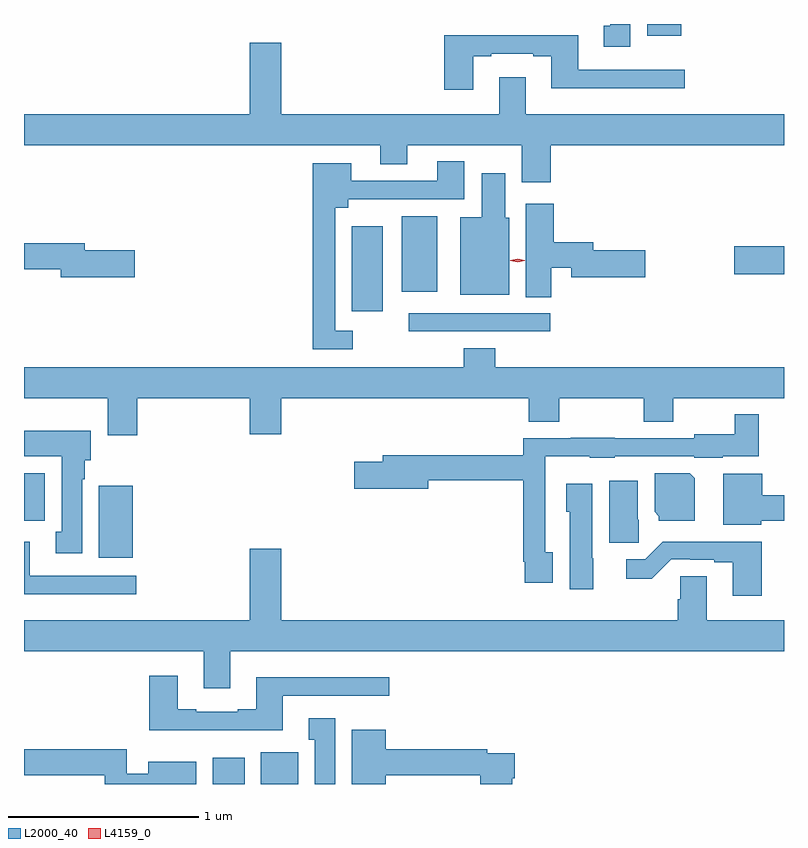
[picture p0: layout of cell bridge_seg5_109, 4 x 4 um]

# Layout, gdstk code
import gdstk
lib = gdstk.Library(unit=1e-6, precision=1e-09)
def R(c, l, rs):  # rectangles x0, y0, x1, y1
    for r in rs: c.add(gdstk.rectangle(r[:2], r[2:], *l))
def P(c, l, *ps):  # polygons
    for p in ps: c.add(gdstk.Polygon(p, *l))
L2000_40 = (2000, 40)
L4159_0 = (4159, 0)

bridge_seg5_109 = lib.new_cell('bridge_seg5_109')
R(bridge_seg5_109, L2000_40, [(404.573,836.082,404.74,836.221), (404.825,836.082,405.022,836.248), (403.973,837.273,404.152,837.652), (403.579,837.468,403.689,837.718), (405.603,838.464,406.348,838.56), (405.305,838.569,405.466,839.017), (405.566,838.673,405.754,839.071), (407.316,838.766,407.579,838.913), (406.859,840.02,407.038,840.082)])
P(bridge_seg5_109, L2000_40, [(406.771,840.082),(406.664,840.082),(406.664,840.074),(406.631,840.074),(406.631,839.961),(406.771,839.961)],
  [(405.943,839.913),(406.039,839.913),(406.039,839.925),(406.259,839.925),(406.259,839.913),(406.355,839.913),(406.355,839.744),(407.056,839.744),(407.056,839.841),(406.495,839.841),(406.495,840.022),(405.791,840.022),(405.791,839.736),(405.943,839.736)],
  [(406.352,839.444),(407.579,839.444),(407.579,839.608),(406.219,839.608),(406.219,839.803),(406.079,839.803),(406.079,839.608),(404.932,839.608),(404.932,839.983),(404.768,839.983),(404.768,839.608),(403.579,839.608),(403.579,839.444),(405.455,839.444),(405.455,839.345),(405.595,839.345),(405.595,839.444),(406.199,839.444),(406.199,839.25),(406.352,839.25)],
  [(405.31,838.467),(405.216,838.467),(405.216,839.114),(405.286,839.114),(405.286,839.16),(405.895,839.16),(405.895,839.359),(405.755,839.359),(405.755,839.256),(405.301,839.256),(405.301,839.35),(405.1,839.35),(405.1,838.371),(405.31,838.371)],
  [(406.132,839.061),(406.111,839.061),(406.111,839.296),(405.989,839.296),(405.989,839.065),(405.875,839.065),(405.875,838.658),(406.132,838.658)],
  [(406.354,838.799),(406.46,838.799),(406.46,838.75),(406.849,838.75),(406.849,838.892),(406.576,838.892),(406.576,838.934),(406.367,838.934),(406.367,839.137),(406.22,839.137),(406.22,838.645),(406.354,838.645)],
  [(404.161,838.892),(403.9,838.892),(403.9,838.928),(403.579,838.928),(403.579,838.792),(403.772,838.792),(403.772,838.75),(404.161,838.75)],
  [(404.174,838.112),(404.768,838.112),(404.768,837.924),(404.932,837.924),(404.932,838.112),(406.235,838.112),(406.235,837.988),(406.395,837.988),(406.395,838.112),(406.84,838.112),(406.84,837.988),(406.995,837.988),(406.995,838.112),(407.579,838.112),(407.579,838.276),(406.058,838.276),(406.058,838.375),(405.893,838.375),(405.893,838.276),(403.579,838.276),(403.579,838.112),(404.021,838.112),(404.021,837.918),(404.174,837.918)],
  [(406.363,837.302),(406.323,837.302),(406.323,837.806),(406.557,837.806),(406.557,837.8),(406.689,837.8),(406.689,837.807),(407.106,837.807),(407.106,837.8),(407.256,837.8),(407.256,837.806),(407.447,837.806),(407.447,838.027),(407.319,838.027),(407.319,837.922),(407.106,837.922),(407.106,837.903),(406.689,837.903),(406.689,837.905),(406.457,837.905),(406.457,837.903),(406.207,837.903),(406.207,837.811),(405.467,837.811),(405.467,837.777),(405.318,837.777),(405.318,837.635),(405.706,837.635),(405.706,837.682),(406.207,837.682),(406.207,837.253),(406.215,837.253),(406.215,837.141),(406.363,837.141)],
  [(403.885,837.686),(403.9,837.686),(403.9,837.786),(403.93,837.786),(403.93,837.94),(403.579,837.94),(403.579,837.806),(403.778,837.806),(403.778,837.409),(403.745,837.409),(403.745,837.297),(403.885,837.297)],
  [(407.11,837.692),(407.084,837.718),(406.898,837.718),(406.898,837.514),(406.92,837.492),(406.92,837.467),(407.11,837.467)],
  [(407.46,837.467),(407.579,837.467),(407.579,837.602),(407.464,837.602),(407.464,837.716),(407.258,837.716),(407.258,837.446),(407.46,837.446)],
  [(406.814,837.474),(406.81,837.474),(406.81,837.679),(406.658,837.679),(406.658,837.351),(406.814,837.351)],
  [(406.576,837.27),(406.57,837.27),(406.57,837.661),(406.433,837.661),(406.433,837.516),(406.451,837.516),(406.451,837.108),(406.576,837.108)],
  [(407.462,837.358),(406.942,837.358),(406.848,837.264),(406.749,837.264),(406.749,837.162),(406.884,837.162),(406.986,837.264),(407.086,837.264),(407.086,837.261),(407.213,837.261),(407.213,837.249),(407.309,837.249),(407.309,837.072),(407.462,837.072)],
  [(404.17,837.177),(403.609,837.177),(403.609,837.358),(403.579,837.358),(403.579,837.08),(404.17,837.08)],
  [(404.665,836.78),(407.579,836.78),(407.579,836.944),(407.173,836.944),(407.173,837.176),(407.034,837.176),(407.034,837.054),(407.021,837.054),(407.021,836.944),(404.932,836.944),(404.932,837.319),(404.768,837.319),(404.768,836.944),(403.579,836.944),(403.579,836.78),(404.525,836.78),(404.525,836.586),(404.665,836.586)],
  [(404.941,836.547),(405.502,836.547),(405.502,836.644),(404.801,836.644),(404.801,836.476),(404.705,836.476),(404.705,836.463),(404.485,836.463),(404.485,836.476),(404.389,836.476),(404.389,836.653),(404.237,836.653),(404.237,836.366),(404.941,836.366)],
  [(405.217,836.428),(405.077,836.428),(405.077,836.315),(405.11,836.315),(405.11,836.082),(405.217,836.082)],
  [(405.484,836.128),(405.98,836.128),(405.98,836.082),(406.15,836.082),(406.15,836.111),(406.163,836.111),(406.163,836.244),(406.016,836.244),(406.016,836.264),(405.484,836.264),(405.484,836.368),(405.305,836.368),(405.305,836.082),(405.484,836.082)],
  [(404.485,836.2),(404.234,836.2),(404.234,836.136),(404.121,836.136),(404.121,836.264),(403.579,836.264),(403.579,836.128),(404.005,836.128),(404.005,836.082),(404.485,836.082)])
P(bridge_seg5_109, L4159_0, [(406.177,838.827),(406.139,838.837),(406.139,838.837),(406.139,838.838),(406.177,838.847),(406.215,838.838),(406.215,838.837),(406.215,838.837)])

lib.write_gds('bridge_seg5_109.gds')
